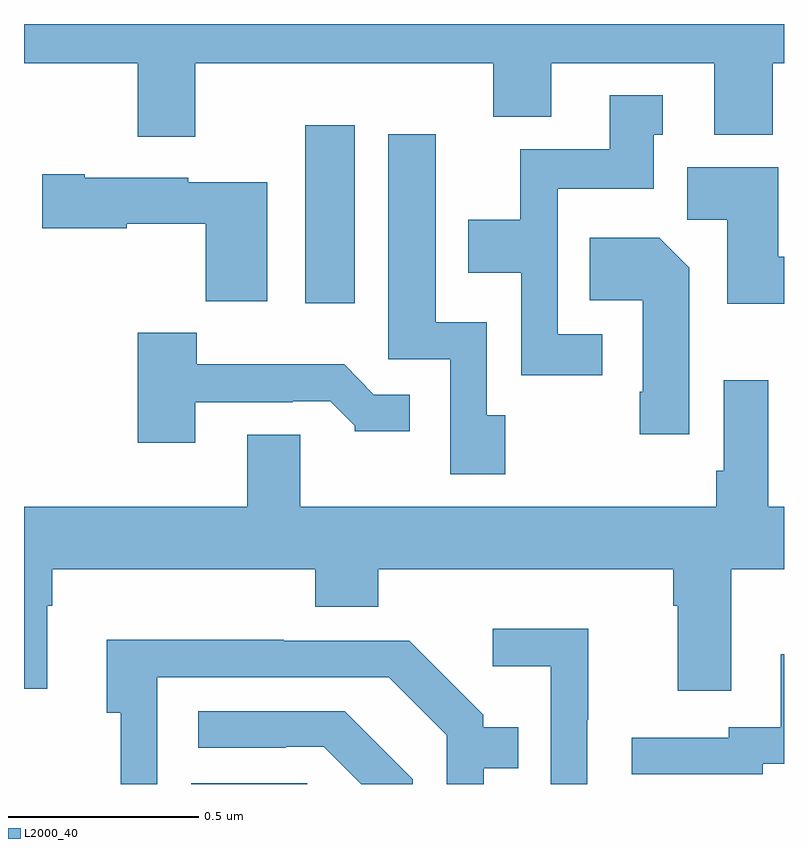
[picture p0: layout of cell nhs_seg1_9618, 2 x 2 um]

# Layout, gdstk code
import gdstk
lib = gdstk.Library(unit=1e-6, precision=1e-09)
def R(c, l, rs):  # rectangles x0, y0, x1, y1
    for r in rs: c.add(gdstk.rectangle(r[:2], r[2:], *l))
def P(c, l, *ps):  # polygons
    for p in ps: c.add(gdstk.Polygon(p, *l))
L2000_40 = (2000, 40)

nhs_seg1_9618 = lib.new_cell('nhs_seg1_9618')
R(nhs_seg1_9618, L2000_40, [(231.44,519.199,231.745,519.201), (231.74,520.464,231.871,520.933)])
P(nhs_seg1_9618, L2000_40, [(231.451,521.096),(232.235,521.096),(232.235,520.955),(232.387,520.955),(232.387,521.096),(232.817,521.096),(232.817,520.907),(232.97,520.907),(232.97,521.096),(233,521.096),(233,521.199),(231,521.199),(231,521.096),(231.299,521.096),(231.299,520.902),(231.451,520.902)],
  [(232.522,520.383),(232.404,520.383),(232.404,520.766),(232.657,520.766),(232.657,520.908),(232.681,520.908),(232.681,521.011),(232.541,521.011),(232.541,520.87),(232.306,520.87),(232.306,520.684),(232.169,520.684),(232.169,520.544),(232.308,520.544),(232.308,520.275),(232.522,520.275)],
  [(232.266,520.17),(232.218,520.17),(232.218,520.414),(232.084,520.414),(232.084,520.909),(231.959,520.909),(231.959,520.317),(232.122,520.317),(232.122,520.014),(232.266,520.014)],
  [(233,520.586),(232.985,520.586),(232.985,520.822),(232.745,520.822),(232.745,520.684),(232.85,520.684),(232.85,520.463),(233,520.463)],
  [(231.64,520.783),(231.432,520.783),(231.432,520.795),(231.16,520.795),(231.16,520.803),(231.048,520.803),(231.048,520.661),(231.27,520.661),(231.27,520.673),(231.478,520.673),(231.478,520.469),(231.64,520.469)],
  [(232.75,520.558),(232.672,520.636),(232.489,520.636),(232.489,520.472),(232.628,520.472),(232.628,520.231),(232.621,520.231),(232.621,520.119),(232.75,520.119)],
  [(231.451,520.203),(231.707,520.203),(231.707,520.206),(231.806,520.206),(231.87,520.142),(231.87,520.127),(232.015,520.127),(232.015,520.224),(231.921,520.224),(231.843,520.303),(231.454,520.303),(231.454,520.387),(231.299,520.387),(231.299,520.097),(231.451,520.097)],
  [(231,519.45),(231.061,519.45),(231.061,519.668),(231.074,519.668),(231.074,519.764),(231.767,519.764),(231.767,519.665),(231.932,519.665),(231.932,519.764),(232.709,519.764),(232.709,519.668),(232.721,519.668),(232.721,519.444),(232.861,519.444),(232.861,519.764),(233,519.764),(233,519.928),(232.958,519.928),(232.958,520.261),(232.842,520.261),(232.842,520.024),(232.822,520.024),(232.822,519.928),(231.727,519.928),(231.727,520.118),(231.587,520.118),(231.587,519.928),(231,519.928)],
  [(232.482,519.368),(232.485,519.368),(232.485,519.607),(232.233,519.607),(232.233,519.509),(232.386,519.509),(232.386,519.199),(232.482,519.199)],
  [(231.351,519.48),(231.96,519.48),(232.113,519.327),(232.113,519.199),(232.21,519.199),(232.21,519.24),(232.301,519.24),(232.301,519.349),(232.209,519.349),(232.209,519.381),(232.014,519.576),(231.683,519.576),(231.683,519.578),(231.218,519.578),(231.218,519.386),(231.255,519.386),(231.255,519.199),(231.351,519.199)],
  [(232.944,519.252),(233,519.252),(233,519.541),(232.991,519.541),(232.991,519.348),(232.854,519.348),(232.854,519.321),(232.599,519.321),(232.599,519.225),(232.944,519.225)],
  [(232.023,519.211),(231.844,519.39),(231.459,519.39),(231.459,519.294),(231.689,519.294),(231.689,519.297),(231.789,519.297),(231.887,519.199),(232.023,519.199)])

lib.write_gds('nhs_seg1_9618.gds')
